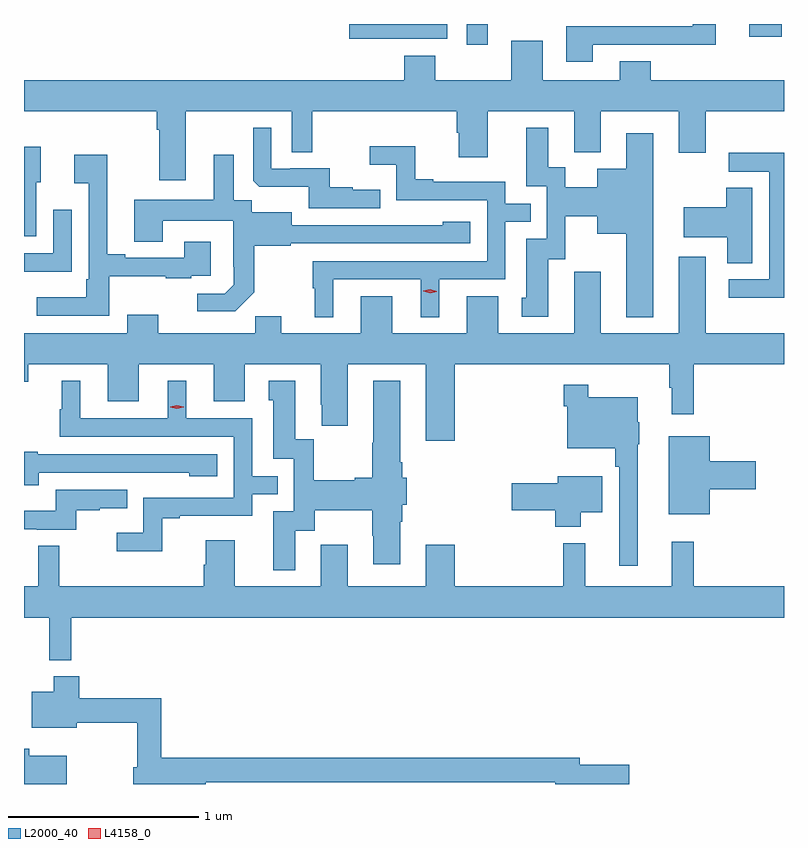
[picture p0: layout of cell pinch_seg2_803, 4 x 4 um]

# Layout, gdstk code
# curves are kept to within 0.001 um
import gdstk
lib = gdstk.Library(unit=1e-6, precision=1e-09)
def R(c, l, rs):  # rectangles x0, y0, x1, y1
    for r in rs: c.add(gdstk.rectangle(r[:2], r[2:], *l))
def P(c, l, *ps):  # polygons
    for p in ps: c.add(gdstk.Polygon(p, *l))
L2000_40 = (2000, 40)
L4158_0 = (4158, 0)

pinch_seg2_803 = lib.new_cell('pinch_seg2_803')
R(pinch_seg2_803, L2000_40, [(662.381,614.688,662.49,614.796), (661.761,614.718,662.277,614.796), (663.867,614.73,664.039,614.796)])
P(pinch_seg2_803, L2000_40, [(663.043,614.688),(663.473,614.688),(663.473,614.687),(663.691,614.687),(663.691,614.796),(663.57,614.796),(663.57,614.784),(662.903,614.784),(662.903,614.598),(663.043,614.598)],
  [(660.901,614.336),(661.458,614.336),(661.458,614.122),(661.567,614.122),(661.567,614.336),(662.327,614.336),(662.327,614.223),(662.339,614.223),(662.339,614.094),(662.491,614.094),(662.491,614.336),(662.945,614.336),(662.945,614.12),(663.085,614.12),(663.085,614.336),(663.497,614.336),(663.497,614.118),(663.637,614.118),(663.637,614.336),(664.05,614.336),(664.05,614.5),(663.349,614.5),(663.349,614.599),(663.185,614.599),(663.185,614.5),(662.779,614.5),(662.779,614.707),(662.615,614.707),(662.615,614.5),(662.215,614.5),(662.215,614.629),(662.051,614.629),(662.051,614.5),(660.05,614.5),(660.05,614.336),(660.749,614.336),(660.749,614.24),(660.761,614.24),(660.761,613.974),(660.901,613.974)],
  [(663.361,614.221),(663.221,614.221),(663.221,614.035),(663.068,614.035),(663.068,613.936),(662.899,613.936),(662.899,614.042),(662.809,614.042),(662.809,614.251),(662.693,614.251),(662.693,613.941),(662.802,613.941),(662.802,613.665),(662.693,613.665),(662.693,613.356),(662.669,613.356),(662.669,613.254),(662.809,613.254),(662.809,613.557),(662.898,613.557),(662.898,613.784),(663.068,613.784),(663.068,613.691),(663.221,613.691),(663.221,613.253),(663.361,613.253)],
  [(661.925,613.924),(661.781,613.924),(661.781,613.936),(661.658,613.936),(661.658,614.037),(661.45,614.037),(661.45,614.034),(661.35,614.034),(661.35,614.251),(661.257,614.251),(661.257,613.971),(661.289,613.94),(661.548,613.94),(661.548,613.827),(661.925,613.827)],
  [(661.678,613.452),(662.138,613.452),(662.138,613.253),(662.236,613.253),(662.236,613.452),(662.583,613.452),(662.583,613.755),(662.717,613.755),(662.717,613.851),(662.583,613.851),(662.583,613.965),(662.203,613.965),(662.203,613.978),(662.109,613.978),(662.109,614.153),(661.869,614.153),(661.869,614.054),(662.01,614.054),(662.01,613.869),(662.487,613.869),(662.487,613.548),(661.569,613.548),(661.569,613.404),(661.58,613.404),(661.58,613.253),(661.678,613.253)],
  [(660.114,613.962),(660.139,613.962),(660.139,614.15),(660.05,614.15),(660.05,613.68),(660.114,613.68)],
  [(664.05,614.118),(663.759,614.118),(663.759,614.019),(663.972,614.019),(663.972,613.452),(663.759,613.452),(663.759,613.356),(664.05,613.356)],
  [(660.499,613.469),(660.797,613.469),(660.797,613.458),(660.929,613.458),(660.929,613.47),(661.033,613.47),(661.033,613.651),(660.893,613.651),(660.893,613.566),(660.583,613.566),(660.583,613.585),(660.487,613.585),(660.487,614.107),(660.315,614.107),(660.315,613.958),(660.39,613.958),(660.39,613.453),(660.378,613.453),(660.378,613.357),(660.117,613.357),(660.117,613.26),(660.499,613.26)],
  [(661.263,613.383),(661.263,613.629),(661.455,613.629),(661.455,613.641),(662.398,613.641),(662.398,613.756),(662.253,613.756),(662.253,613.738),(661.459,613.737),(661.459,613.804),(661.248,613.804),(661.248,613.868),(661.153,613.868),(661.153,614.107),(661.049,614.107),(661.049,613.87),(660.629,613.87),(660.629,613.651),(660.781,613.651),(660.781,613.76),(661.152,613.76),(661.152,613.519),(661.154,613.519),(661.154,613.424),(661.107,613.377),(660.963,613.377),(660.963,613.283),(661.163,613.283)],
  [(663.883,613.934),(663.745,613.934),(663.745,613.831),(663.522,613.831),(663.522,613.673),(663.752,613.673),(663.752,613.537),(663.883,613.537)],
  [(660.3,613.819),(660.204,613.819),(660.204,613.59),(660.05,613.59),(660.05,613.493),(660.3,613.493)],
  [(661.823,613.363),(661.823,613.168),(661.405,613.168),(661.405,613.259),(661.267,613.259),(661.267,613.168),(660.757,613.168),(660.757,613.267),(660.593,613.267),(660.593,613.168),(660.05,613.168),(660.05,612.914),(660.073,612.914),(660.073,613.004),(660.491,613.004),(660.491,612.81),(660.655,612.81),(660.655,613.004),(661.049,613.004),(661.049,612.81),(661.213,612.81),(661.213,613.004),(661.613,613.004),(661.613,612.793),(661.616,612.793),(661.616,612.681),(661.753,612.681),(661.753,613.004),(662.165,613.004),(662.165,612.603),(662.318,612.603),(662.318,613.004),(663.447,613.004),(663.447,612.881),(663.458,612.881),(663.458,612.741),(663.575,612.741),(663.575,613.004),(664.05,613.004),(664.05,613.168),(663.637,613.168),(663.637,613.57),(663.497,613.57),(663.497,613.168),(663.085,613.168),(663.085,613.492),(662.946,613.492),(662.946,613.379),(662.945,613.379),(662.945,613.168),(662.545,613.168),(662.545,613.363),(662.381,613.363),(662.381,613.168),(661.987,613.168),(661.987,613.363)],
  [(660.777,612.195),(660.871,612.195),(660.871,612.207),(661.251,612.207),(661.251,612.321),(661.385,612.321),(661.385,612.417),(661.251,612.417),(661.251,612.72),(660.904,612.72),(660.904,612.919),(660.806,612.919),(660.806,612.72),(660.346,612.72),(660.346,612.919),(660.248,612.919),(660.248,612.768),(660.237,612.768),(660.237,612.624),(661.155,612.624),(661.155,612.303),(660.678,612.303),(660.678,612.118),(660.537,612.118),(660.537,612.02),(660.777,612.02)],
  [(661.477,612.13),(661.579,612.13),(661.579,612.236),(661.882,612.236),(661.882,612.102),(661.889,612.102),(661.889,611.952),(662.029,611.952),(662.029,612.176),(662.042,612.176),(662.042,612.265),(662.065,612.265),(662.065,612.407),(662.042,612.407),(662.042,612.49),(662.029,612.49),(662.029,612.919),(661.889,612.919),(661.889,612.593),(661.882,612.593),(661.882,612.407),(661.791,612.407),(661.791,612.394),(661.575,612.394),(661.575,612.611),(661.477,612.611),(661.477,612.919),(661.337,612.919),(661.337,612.816),(661.361,612.816),(661.361,612.507),(661.47,612.507),(661.47,612.231),(661.361,612.231),(661.361,611.922),(661.477,611.922)],
  [(663.28,612.585),(663.289,612.585),(663.289,612.699),(663.28,612.699),(663.28,612.832),(663.019,612.832),(663.019,612.898),(662.89,612.898),(662.89,612.785),(662.91,612.785),(662.91,612.563),(663.163,612.563),(663.163,612.467),(663.183,612.467),(663.183,611.946),(663.28,611.946)],
  [(663.658,612.347),(663.901,612.347),(663.901,612.494),(663.658,612.494),(663.658,612.625),(663.443,612.625),(663.443,612.215),(663.658,612.215)],
  [(660.127,612.435),(660.685,612.435),(660.685,612.434),(660.921,612.434),(660.921,612.416),(661.066,612.416),(661.066,612.531),(660.123,612.531),(660.123,612.544),(660.05,612.544),(660.05,612.368),(660.127,612.368)],
  [(662.98,612.227),(663.094,612.227),(663.094,612.415),(662.858,612.415),(662.858,612.38),(662.616,612.38),(662.616,612.238),(662.846,612.238),(662.846,612.149),(662.98,612.149)],
  [(660.326,612.237),(660.449,612.237),(660.449,612.248),(660.593,612.248),(660.593,612.345),(660.216,612.345),(660.216,612.233),(660.05,612.233),(660.05,612.138),(660.118,612.138),(660.118,612.135),(660.326,612.135)],
  [(660.299,611.672),(664.05,611.672),(664.05,611.836),(663.575,611.836),(663.575,612.07),(663.458,612.07),(663.458,611.836),(663.005,611.836),(663.005,612.064),(662.887,612.064),(662.887,611.836),(662.318,611.836),(662.318,612.055),(662.165,612.055),(662.165,611.836),(661.753,611.836),(661.753,612.055),(661.613,612.055),(661.613,611.836),(661.159,611.836),(661.159,612.079),(661.007,612.079),(661.007,611.949),(660.995,611.949),(660.995,611.836),(660.235,611.836),(660.235,612.05),(660.126,612.05),(660.126,611.836),(660.05,611.836),(660.05,611.672),(660.182,611.672),(660.182,611.447),(660.299,611.447)],
  [(661.006,610.806),(662.846,610.806),(662.846,610.796),(663.235,610.796),(663.235,610.898),(662.974,610.898),(662.974,610.934),(660.773,610.934),(660.773,611.248),(660.341,611.248),(660.341,611.362),(660.206,611.362),(660.206,611.281),(660.092,611.281),(660.092,611.093),(660.328,611.093),(660.328,611.119),(660.645,611.119),(660.645,610.885),(660.626,610.885),(660.626,610.796),(661.006,610.796)],
  [(660.276,610.945),(660.077,610.945),(660.077,610.981),(660.05,610.981),(660.05,610.796),(660.276,610.796)])
P(pinch_seg2_803, L4158_0, [(660.855,612.77),(660.819,612.78),(660.819,612.78),(660.819,612.781),(660.855,612.79),(660.891,612.781),(660.891,612.78),(660.891,612.78)],
  [(662.187,613.38),(662.151,613.39),(662.151,613.391),(662.151,613.391),(662.187,613.4),(662.223,613.389),(662.223,613.388),(662.223,613.388)])

lib.write_gds('pinch_seg2_803.gds')
